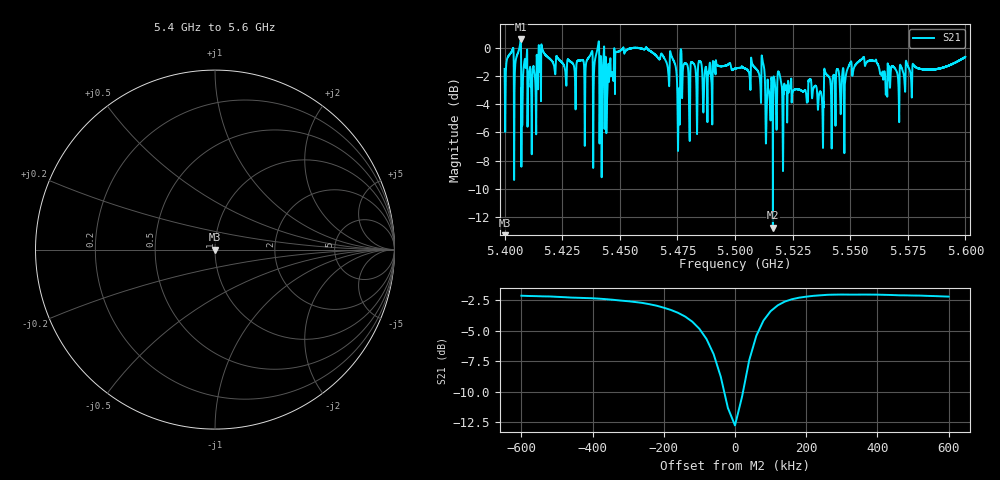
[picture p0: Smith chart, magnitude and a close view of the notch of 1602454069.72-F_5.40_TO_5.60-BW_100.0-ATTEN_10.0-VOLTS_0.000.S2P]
!Keysight Technologies,E5063A,MY54502693,A.05.04
!Date: Mon Oct 12 07:09:26 2020
!Data & Calibration Information:
!Freq	S11:NONE(--)	S21:NONE(--)	S12:NONE(--)	S22:NONE(--)
# Hz S RI R 50
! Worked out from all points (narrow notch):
!   10000 points, 5.4 GHz to 5.6 GHz, reference 50 ohm
!   highest |S21| = 0.60 dB at 5.407 GHz (marker M1); lowest = -12.8 dB at 5.5165 GHz (marker M2)
!   notch at M2: 11.4 dB deep, 102 kHz wide at half that depth
!   lowest |S11| = - dB at 5.4 GHz (marker M3), VSWR 1.00, Z = 50 + j0 ohm
!   |S11| at or under -10 dB: start of sweep to end of sweep
!   S12 and S22 are empty: the file has one direction only
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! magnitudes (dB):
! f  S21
! 5.4 GHz  -1.5
! 5.4061 GHz  -0.2
! 5.407 GHz  0.6
! 5.4333 GHz  -0.9
! 5.4401 GHz  -0.3
! 5.4419 GHz  -1.2
! 5.4443 GHz  -4.7
! 5.4491 GHz  -0.3
! 5.4667 GHz  -0.7
! 5.4727 GHz  -0.7
! 5.4752 GHz  -6.4
! 5.4772 GHz  -2.1
! 5.4797 GHz  -1.7
! 5.5 GHz  -1.5
! 5.5165 GHz  -12.8
! 5.5334 GHz  -3.4
! 5.5376 GHz  -3.4
! 5.5396 GHz  -1.9
! 5.5466 GHz  -1.9
! 5.5551 GHz  -0.8
! 5.5667 GHz  -2.1
! 5.6 GHz  -0.7
